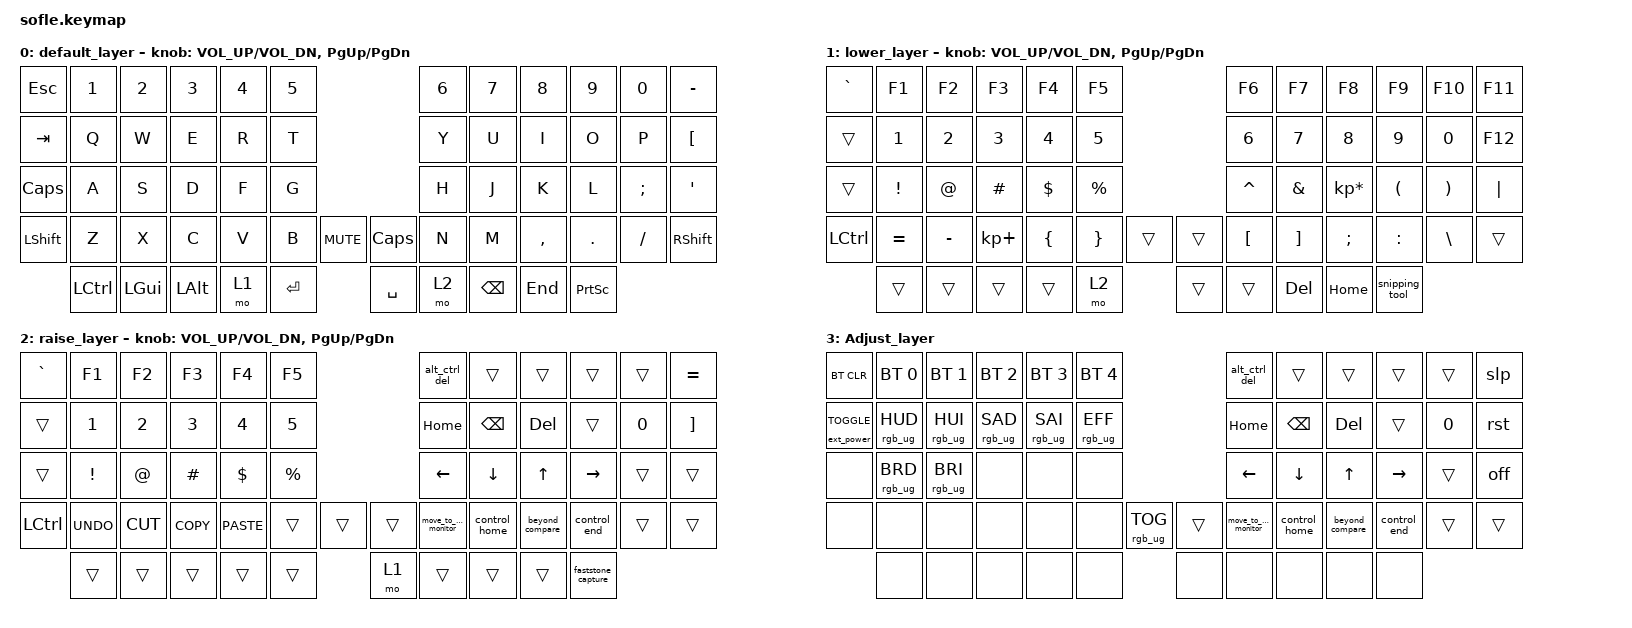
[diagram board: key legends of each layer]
/*
 * Copyright (c) 2020 The ZMK Contributors
 *
 * SPDX-License-Identifier: MIT
 */

#include <behaviors.dtsi>
#include <dt-bindings/zmk/keys.h>
#include <dt-bindings/zmk/bt.h>
#include <dt-bindings/zmk/ext_power.h>
#include <dt-bindings/zmk/rgb.h>

#define BASE 0
#define LOWER 1
#define RAISE 2
#define ADJUST 3

/ {
    // Activate ADJUST layer by pressing raise and lower

    conditional_layers {
        compatible = "zmk,conditional-layers";

        adjust_layer {
            if-layers = <LOWER RAISE>;
            then-layer = <ADJUST>;
        };
    };
   
   macros {
        alt_ctrl_del: alt_ctrl_del {
            label = "MACRO_alt_ctrl_del";
            compatible = "zmk,behavior-macro";
            #binding-cells = <0>;
            bindings
                = <&macro_press &kp LALT &kp LCTRL>
                , <&macro_tap &kp DEL>
                , <&macro_release &kp LALT &kp LCTRL>
                ;
        };
   
        move_to_other_monitor: move_to_other_monitor {
            label = "MACRO_move_to_other_monitor";
            compatible = "zmk,behavior-macro";
            #binding-cells = <0>;
            bindings
                = <&macro_press &kp LGUI &kp LSHFT>
                , <&macro_tap &kp RIGHT>
                , <&macro_release &kp LGUI &kp LSHFT>
                ;
        };
    
        snipping_tool: snipping_tool {
            label = "MACRO_snipping_tool";
            compatible = "zmk,behavior-macro";
            #binding-cells = <0>;
            bindings
                = <&macro_press &kp LGUI &kp LSHFT>
                , <&macro_tap &kp S>
                , <&macro_release &kp LGUI &kp LSHFT>
                ;
        };
    
        faststone_capture: faststone_capture {
            label = "MACRO_faststone_capture";
            compatible = "zmk,behavior-macro";
            #binding-cells = <0>;
            bindings
                = <&macro_press &kp LCTRL &kp LALT>
                , <&macro_tap &kp F>
                , <&macro_release &kp LCTRL &kp LALT>
                ;
        };
    
        beyond_compare: beyond_compare {
            label = "MACRO_beyond_compare";
            compatible = "zmk,behavior-macro";
            #binding-cells = <0>;
            bindings
                = <&macro_press &kp LCTRL &kp LALT>
                , <&macro_tap &kp F>
                , <&macro_release &kp LCTRL &kp LALT>
                ;
        };
   
        control_home: control_home {
            label = "MACRO_control_home";
            compatible = "zmk,behavior-macro";
            #binding-cells = <0>;
            bindings
                = <&macro_press &kp LCTRL>
                , <&macro_tap &kp HOME>
                , <&macro_release &kp LCTRL>
                ;
        };
    
        control_end: control_end {
            label = "MACRO_control_end";
            compatible = "zmk,behavior-macro";
            #binding-cells = <0>;
            bindings
                = <&macro_press &kp LCTRL>
                , <&macro_tap &kp END>
                , <&macro_release &kp LCTRL>
                ;
        };
		
		slp: slp {
            label = "SLEEP";
            compatible = "zmk,behavior-macro";
            #binding-cells = <0>;
            bindings
                = <&macro_press &kp LGUI>
                , <&macro_tap &kp X>
                , <&macro_release &kp LGUI>
                , <&macro_tap &kp U &kp S>
                ;
        };
        rst: rst {
            label = "RESTART";
            compatible = "zmk,behavior-macro";
            #binding-cells = <0>;
            bindings
                = <&macro_press &kp LGUI>
                , <&macro_tap &kp X>
                , <&macro_release &kp LGUI>
                , <&macro_tap &kp U &kp R>
                ;
        };
        off: off {
            label = "SHUTDOWN";
            compatible = "zmk,behavior-macro";
            #binding-cells = <0>;
            bindings
                = <&macro_press &kp LGUI>
                , <&macro_tap &kp X>
                , <&macro_release &kp LGUI>
                , <&macro_tap &kp U &kp U>
                ;
        };
    };
	
	keymap {
        compatible = "zmk,keymap";

        default_layer {
            // ------------------------------------------------------------------------------------------------------------
            // |  ESC  |  1  |  2  |  3   |  4   |  5   |                   |  6   |  7    |  8    |  9   |   0   |   -   |
            // |  TAB  |  Q  |  W  |  E   |  R   |  T   |                   |  Y   |  U    |  I    |  O   |   P   |   [   |
            // |  CAPS |  A  |  S  |  D   |  F   |  G   |                   |  H   |  J    |  K    |  L   |   ;   |   '   |
            // | SHIFT |  Z  |  X  |  C   |  V   |  B   |  MUTE  |  |       |  N   |  M    |  ,    |  .   |   /   | SHIFT |
            //               |CTRL |  GUI | ALT  | LOWER|  ENTER |  | SPACE | RAISE| BCKSP | END   | PRINT|

            bindings = <
   &kp ESC 		 &kp N1     &kp N2    &kp N3    &kp N4  &kp N5                         &kp N6         &kp N7     &kp N8           &kp N9    &kp N0         &kp MINUS
   &kp TAB   	 &kp Q      &kp W     &kp E     &kp R   &kp T                          &kp Y          &kp U      &kp I            &kp O     &kp P  		&kp LEFT_BRACKET
   &kp CLCK   	 &kp A      &kp S     &kp D     &kp F   &kp G                          &kp H          &kp J      &kp K            &kp L  &kp SEMI           &kp SQT
   &kp LSHFT     &kp Z      &kp X     &kp C     &kp V   &kp B  &kp C_MUTE   &kp CAPS   &kp N          &kp M  &kp COMMA          &kp DOT  &kp FSLH         &kp RSHFT
                      &kp LCTRL &kp LGUI &kp LALT   &mo 1     &kp RET  &kp SPACE   &mo 2  &kp BACKSPACE    &kp END  &kp PRINTSCREEN
            >;

            sensor-bindings = <&inc_dec_kp C_VOL_UP C_VOL_DN &inc_dec_kp PAGE_UP PG_DN>;
        };

        lower_layer {
            // TODO: Some binds are waiting for shifted keycode support.
            // ------------------------------------------------------------------------------------------------------------
            // | `   |  F1 |  F2 |  F3  |  F4  |  F5  |                   |  F6  |  F7   |  F8   |  F9  |  F10  |  F11  |
            // |     |   1 |   2 |   3  |   4  |   5  |                   |   6  |   7   |   8   |   9  |    0  |  F12  |
            // |     |  !  |  @  |  #   |  $   |  %   |                   |  ^   |  &    |  *    |  (   |   )   |   |   |
            // |CTRL |  =  |  -  |  +   |  {   |  }   |        |  |       |  [   |  ]    |  ;    |  :   |   \   |       |
            //             |     |      |      |      | ADJUST |  |       |      | DEL   | HOME  | SNIP |			
			
			bindings = <
 &kp GRAVE     &kp F1     &kp F2       &kp F3    &kp F4     &kp F5                     &kp F6    &kp F7           &kp F8     &kp F9   &kp F10   &kp F11
    &trans     &kp N1     &kp N2       &kp N3    &kp N4     &kp N5                     &kp N6    &kp N7           &kp N8     &kp N9    &kp N0   &kp F12
    &trans   &kp EXCL     &kp AT     &kp HASH  &kp DLLR  &kp PRCNT                  &kp CARET  &kp AMPS  &kp KP_MULTIPLY   &kp LPAR  &kp RPAR  &kp PIPE
   &kp LCTRL  &kp EQUAL   &kp MINUS  &kp KP_PLUS &kp LBRC  &kp RBRC  &trans  &trans   &kp LBKT  &kp RBKT         &kp SEMI  &kp COLON  &kp BSLH    &trans
                          &trans     &trans     &trans   &trans     &mo 2  &trans   &trans  &kp DEL    &kp HOME  &snipping_tool
            >;

            sensor-bindings = <&inc_dec_kp C_VOL_UP C_VOL_DN &inc_dec_kp PG_UP PG_DN>;
        };

        raise_layer {
            // ------------------------------------------------------------------------------------------------------------
            // | `   |  F1  |  F2  |  F3   |  F4   |  F5  |		           | CAD  |      |       |      |       |   =   |
            // |     |   1  |   2  |   3   |   4   |   5  |                | HOME |BKSPC |  DEL  |      |       |   ]   |
            // |     |  !   |  @   |  #    |  $    |  %   |                |  <-  |  v   |   ^   |  ->  |       |       |
            // |CTRL |  =   |  -   |  +    |  {    |  }   |      |  |      | WSR  |  DB  |  BC   |  DE  |       |       |
            //              |      |       |       |      |      |  |ADJUST|      |      |       |  FSC |

            bindings = <
 &kp GRAVE     &kp F1     &kp F2       &kp F3    &kp F4     &kp F5                 &alt_ctrl_del &trans    &trans     &trans   &trans          &kp EQUAL
     &trans     &kp N1     &kp N2       &kp N3    &kp N4     &kp N5                     &kp HOME   &kp BSPC  &kp DEL     &trans   &kp N0  &kp RIGHT_BRACKET
     &trans   &kp EXCL     &kp AT     &kp HASH  &kp DLLR  &kp PRCNT                    &kp LEFT   &kp DOWN  &kp UP  &kp RIGHT  &trans            &trans
    &kp LCTRL    &kp K_UNDO   &kp K_CUT    &kp K_COPY    &kp K_PASTE      &trans  &trans  &trans &move_to_other_monitor &control_home &beyond_compare &control_end   &trans             &trans
                                 &trans        &trans        &trans        &trans  &trans  
								 &mo 1     &trans    &trans    &trans   &faststone_capture
            >;

            sensor-bindings = <&inc_dec_kp C_VOL_UP C_VOL_DN &inc_dec_kp PG_UP PG_DN>;
        };

        // ------------------------------------------------------------------------------------------------------------
        // |BTCLR | BT1   | BT2   |  BT3  |  BT4  |  BT5  |                | CAD  |      |       |      |       | SLEEP |
        // |EXTPWR|RGB_HUD|RGB_HUI|RGB_SAD|RGB_SAI|RGB_EFF|                | HOME |BKSPC |  DEL  |      |       |RESTART|
        // |      |RGB_BRD|RGB_BRI|       |       |       |                |  <-  |  v   |   ^   |  ->  |       |  SHUT |
        // |      |       |       |       |       |       |RGB_TOG| |      | WSR  |  DB  |  BC   |  DE  |       |       |
        //                |       |       |       |       |       | |      |      |      |       |      |

        Adjust_layer {
            bindings = <
                      &bt BT_CLR     &bt BT_SEL 0     &bt BT_SEL 1     &bt BT_SEL 2     &bt BT_SEL 3     &bt BT_SEL 4                            &alt_ctrl_del &trans    &trans     &trans   &trans          &slp
 &ext_power EXT_POWER_TOGGLE_CMD  &rgb_ug RGB_HUD  &rgb_ug RGB_HUI  &rgb_ug RGB_SAD  &rgb_ug RGB_SAI  &rgb_ug RGB_EFF                            &kp HOME   &kp BSPC  &kp DEL     &trans   &kp N0  &rst
                           &none  &rgb_ug RGB_BRD  &rgb_ug RGB_BRI            &none            &none            &none                            &kp LEFT   &kp DOWN  &kp UP  &kp RIGHT  &trans            &off
                           &none            &none            &none            &none            &none            &none  &rgb_ug RGB_TOG   &trans &move_to_other_monitor &control_home &beyond_compare &control_end   &trans &trans
                                                             &none            &none            &none            &none            &none   &none   &none   &none   &none   &none
            >;
        };
    };
};
